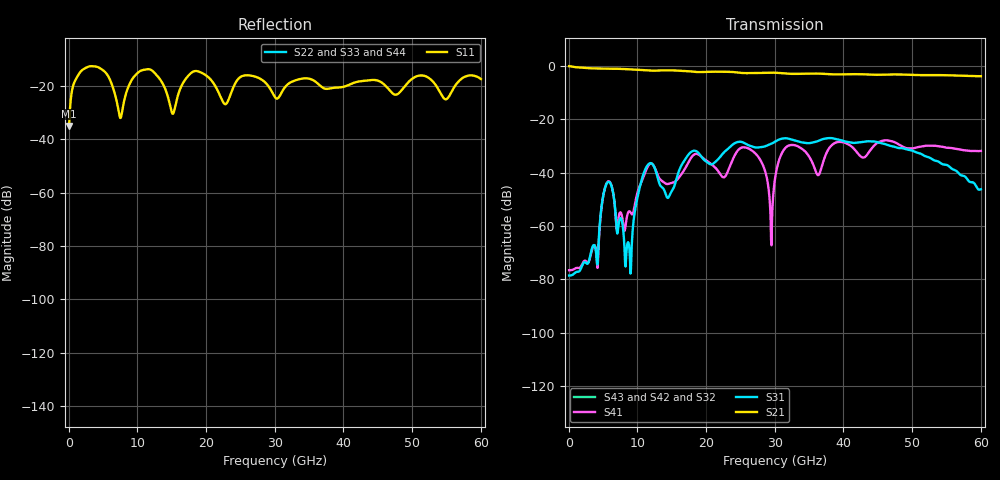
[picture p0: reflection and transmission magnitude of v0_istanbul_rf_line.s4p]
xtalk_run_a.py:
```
"""Istanbul run (a): NEXT |S31|, FEXT |S41| (port data) and EO crosstalk B/A from the gap fields (50 ohm source and
load, push-pull, n_g 2.27: the same settings as the CORDOBA dense run, eo_vs_ports.py). Port 3 = line B near end
(z = 0.3), port 4 = far end: port_check.py. Both lines sampled 5 um from their centre (line A re-exported); the first
line A export (7.5 um) is used only to show the size of the sampling bias."""
import os, sys
HERE = os.path.dirname(os.path.abspath(__file__)); sys.path.insert(0, HERE)
sys.path.insert(0, os.path.abspath(os.path.join(HERE, "../../../..")))
import numpy as np, skrf as rf, matplotlib
matplotlib.use("Agg"); import matplotlib.pyplot as plt
from mzm_interconnect import parameters as P, xtalk_fields as XF
from load_fields import load
p = P.defaults(); p["Rt_R"] = 50.0; p["Zs_R"] = 50.0
X = XF.eo_crosstalk_fields(p, load("A5")); f = X["f_GHz"]; eo = 20 * np.log10(abs(X["X"]))
eo75 = 20 * np.log10(abs(XF.eo_crosstalk_fields(p, load("A7.5"))["X"]))
print("sampling bias, EO(A at 7.5 um) - EO(A at 5 um), dB: median %+.2f, range %+.2f .. %+.2f"
      % (np.median(eo75 - eo), (eo75 - eo).min(), (eo75 - eo).max()))
n = rf.Network(os.path.join(HERE, "v0_istanbul_rf_line.s4p")); fs = n.f / 1e9
dB = lambda s: 20 * np.log10(np.maximum(abs(s), 1e-12))
nx_s, fx_s = dB(n.s[:, 2, 0]), dB(n.s[:, 3, 0])
nx, fx = np.interp(f, fs, nx_s), np.interp(f, fs, fx_s)
cor = np.loadtxt(os.path.join(HERE, "../cordoba_8mm_wide_ebottom_40dB_dense/dense_eo.csv"), delimiter=",", skiprows=1)
np.savetxt(os.path.join(HERE, "xtalk_run_a.csv"), np.c_[f, nx, fx, eo], delimiter=",", fmt="%.3f",
           header="f_GHz,NEXT_S31_dB,FEXT_S41_dB,EO_dB", comments="")
m = f >= 5; d = eo - fx
print("f (GHz) | NEXT | FEXT | EO   (dB)")
for q in (5, 10, 20, 30, 40, 50, 60):
    i = np.argmin(abs(f - q)); print(f"{q:3d} | {nx[i]:6.1f} | {fx[i]:6.1f} | {eo[i]:6.1f}")
for lab, y in (("NEXT", nx), ("FEXT", fx), ("EO", eo)):
    k = np.argmax(np.where(m, y, -999)); print(f"max {lab} 5-60 GHz: {y[k]:.1f} dB at {f[k]:.0f} GHz")
print("EO - FEXT (dB), 5-60 GHz: median %.1f, 5-95%% %.1f .. %.1f; corr(EO, FEXT) %.2f, corr(EO, NEXT) %.2f"
      % (np.median(d[m]), *np.percentile(d[m], [5, 95]), np.corrcoef(eo[m], fx[m])[0, 1], np.corrcoef(eo[m], nx[m])[0, 1]))
fig, ax = plt.subplots(figsize=(8.5, 4.6))
ax.plot(fs, nx_s, color="0.55", lw=1.0, label="NEXT |S31|")
ax.plot(fs, fx_s, color="#eb6834", lw=1.2, label="FEXT |S41|")
ax.plot(f, eo, "o-", color="#2a78d6", ms=3, lw=1.4, label="EO crosstalk B/A (gap fields)")
ax.plot(f, eo75, color="#2a78d6", lw=0.8, alpha=0.45, label="EO, line A at 7.5 um (mismatched sampling)")
ax.plot(cor[:, 0], cor[:, 3], color="#2a78d6", lw=0.9, ls=":", label="EO, CORDOBA 8 mm dense run (reference)")
ax.set_xlim(0, 60); ax.set_ylim(-110, -20); ax.set_xlabel("frequency (GHz)"); ax.set_ylabel("dB"); ax.grid(alpha=0.3)
ax.set_title("Istanbul run (a), 8.75 mm, 625 um pitch, -40 dB: NEXT, FEXT and EO crosstalk", fontsize=10)
ax.legend(frameon=False, fontsize=8, loc="lower right"); fig.tight_layout()
fig.savefig(os.path.join(HERE, "xtalk_run_a.png"), dpi=150)
```
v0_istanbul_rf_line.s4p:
! TOUCHSTONE file generated by CST MICROWAVE STUDIO
! Date and time: Thu Nov  5 15:45:10 2026
! Project name: v0_istanbul_rf_line.cst
! Parameters = {LN_THICKNESS=0.000275; SILICON_THICKNESS=0.55}
! Header version: 2024
! Port assignment regex: !\s*Touchstone port\s*([0-9]+)\s*=\s*(CST MWS port|CST DES external port|CST DES block port)\s*(.+)\s* \(\"(.*)\"\)(\s*mode\s*([0-9]+))?.*
! Touchstone port assignment:
! Touchstone port 1 = CST MWS port 1 ("")
! Touchstone port 2 = CST MWS port 2 ("")
! Touchstone port 3 = CST MWS port 3 ("")
! Touchstone port 4 = CST MWS port 4 ("")
# GHz S MA R 50
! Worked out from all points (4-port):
!   1000 points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, 60 MHz to 60 GHz, reference 50 ohm
!   strongest paths, dB at 60 MHz, 15.06 GHz, 30.06 GHz, 45.06 GHz, 60 GHz:
!     S21: -0.1, -1.7, -2.6, -3.4, -3.9
!     S31: -78.5, -46.7, -28.4, -28.7, -46.2
!     S41: -76.5, -43.8, -41.8, -28.6, -31.9
!     S43: -, -, -, -, -
!     S42: -, -, -, -, -
!     S32: -, -, -, -, -
!   lowest |S11| = -35.0 dB at 60 MHz (marker M1), VSWR 1.04, Z = 51.4 + j1.06 ohm
!   |S11| at or under -10 dB: start of sweep to end of sweep
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0.06  0.01769 35.6  0 0.0  0 0.0  0 0.0
      0.9858 -1.8  0 0.0  0 0.0  0 0.0
      0.0001184 158.7  0 0.0  0 0.0  0 0.0
      0.0001491 -20.8  0 0.0  0 0.0  0 0.0
18.18  0.1852 0.8  0 0.0  0 0.0  0 0.0
       0.7761 -71.4  0 0.0  0 0.0  0 0.0
       0.02569 -168.8  0 0.0  0 0.0  0 0.0
       0.02146 2.2  0 0.0  0 0.0  0 0.0
60  0.1334 -44.2  0 0.0  0 0.0  0 0.0
    0.6401 35.9  0 0.0  0 0.0  0 0.0
    0.004881 131.0  0 0.0  0 0.0  0 0.0
    0.02552 -43.7  0 0.0  0 0.0  0 0.0
